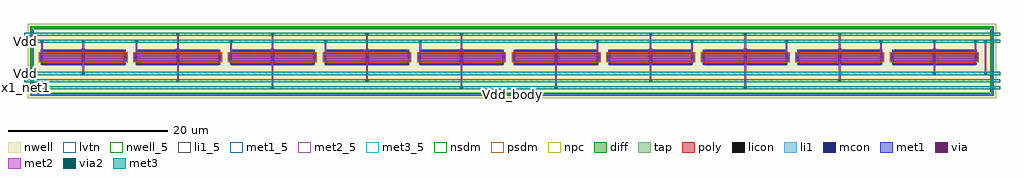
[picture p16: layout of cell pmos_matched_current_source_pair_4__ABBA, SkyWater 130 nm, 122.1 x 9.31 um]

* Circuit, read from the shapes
.subckt pmos_matched_current_source_pair_4__ABBA Vdd Vdd_body x1_Vout x1_Vtest2 x1_net1
XM1 Vdd Vdd Vdd Vdd_body sky130_fd_pr__pfet_01v8_lvt w=1 l=5 m=4
XM2 x1_Vtest2 x1_Vout Vdd Vdd_body sky130_fd_pr__pfet_01v8_lvt w=1 l=5 m=8
XM3 x1_net1 x1_Vout Vdd Vdd_body sky130_fd_pr__pfet_01v8_lvt w=1 l=5 m=8
.ends

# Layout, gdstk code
from math import pi, radians
import gdstk
lib = gdstk.Library(unit=1e-6, precision=1e-09)
def R(c, l, rs):  # rectangles x0, y0, x1, y1
    for r in rs: c.add(gdstk.rectangle(r[:2], r[2:], *l))
def A(c, l, x, y, w, h, nx, ny, dx, dy):  # array of equal rectangles
    R(c, l, [(x+i*dx, y+j*dy, x+i*dx+w, y+j*dy+h) for i in range(nx) for j in range(ny)])
nwell_5 = (64, 5)
nwell = (64, 20)
diff = (65, 20)
tap = (65, 44)
poly = (66, 20)
licon = (66, 44)
li1_5 = (67, 5)
li1 = (67, 20)
mcon = (67, 44)
met1_5 = (68, 5)
met1 = (68, 20)
via = (68, 44)
met2_5 = (69, 5)
met2 = (69, 20)
via2 = (69, 44)
met3_5 = (70, 5)
met3 = (70, 20)
nsdm = (93, 44)
psdm = (94, 20)
npc = (95, 20)
lvtn = (125, 44)

sky130_fd_pr__pfet_01v8_ = lib.new_cell('sky130_fd_pr__pfet_01v8_lvt_26VEAH')
R(sky130_fd_pr__pfet_01v8_, nwell, [(-5.615,-1,5.615,1)])
R(sky130_fd_pr__pfet_01v8_, diff, [(-5.435,-0.5,5.435,0.5)])
R(sky130_fd_pr__pfet_01v8_, poly, [(-5.145,-0.985,-0.145,0.985), (0.145,-0.985,5.145,0.985)])
A(sky130_fd_pr__pfet_01v8_, licon, -4.94, -0.905, 0.17, 0.17, 14, 2, 0.34, 1.64)
A(sky130_fd_pr__pfet_01v8_, licon, 0.35, -0.905, 0.17, 0.17, 14, 2, 0.34, 1.64)
A(sky130_fd_pr__pfet_01v8_, licon, -5.375, -0.425, 0.17, 0.17, 3, 3, 5.29, 0.34)
A(sky130_fd_pr__pfet_01v8_, li1, -5.375, -0.52, 0.17, 1.04, 3, 1, 5.29, 0)
R(sky130_fd_pr__pfet_01v8_, li1, [(-5.29,-0.905,5.29,-0.735), (-5.29,0.735,5.29,0.905)])
A(sky130_fd_pr__pfet_01v8_, mcon, -4.89, -0.905, 0.17, 0.17, 13, 2, 0.36, 1.64)
A(sky130_fd_pr__pfet_01v8_, mcon, 0.4, -0.905, 0.17, 0.17, 13, 2, 0.36, 1.64)
A(sky130_fd_pr__pfet_01v8_, mcon, -5.375, -0.265, 0.17, 0.17, 3, 2, 5.29, 0.36)
A(sky130_fd_pr__pfet_01v8_, met1, -5.405, -0.5, 0.23, 1, 3, 1, 5.29, 0)
R(sky130_fd_pr__pfet_01v8_, met1, [(-5.125,-0.935,-0.165,-0.905), (0.165,-0.935,5.125,-0.905), (-5.29,-0.905,5.29,-0.735), (-5.125,-0.735,-0.165,-0.705), (0.165,-0.735,5.125,-0.705), (-5.125,0.705,-0.165,0.735), (0.165,0.705,5.125,0.735), (-5.29,0.735,5.29,0.905), (-5.125,0.905,-0.165,0.935), (0.165,0.905,5.125,0.935)])
R(sky130_fd_pr__pfet_01v8_, psdm, [(-5.56,-0.625,5.56,0.625)])
R(sky130_fd_pr__pfet_01v8_, npc, [(-5.04,-1.005,-0.25,-0.635), (0.25,-1.005,5.04,-0.635), (-5.04,0.635,-0.25,1.005), (0.25,0.635,5.04,1.005)])
R(sky130_fd_pr__pfet_01v8_, lvtn, [(-5.325,-0.68,5.325,0.68)])
sky130_fd_pr__pfet_01v8_.add(gdstk.Label('D0', (-5.29,0), layer=67, texttype=5))
sky130_fd_pr__pfet_01v8_.add(gdstk.Label('G', (2.645,0.82), layer=67, texttype=5))
sky130_fd_pr__pfet_01v8_.add(gdstk.Label('G', (-2.645,0.82), layer=67, texttype=5))
sky130_fd_pr__pfet_01v8_.add(gdstk.Label('S1', (0,0), layer=67, texttype=5))

pfet_01v8_lvt_w2_l5_m4__ = lib.new_cell('pfet_01v8_lvt_W2_L5_m4__nf2_gboth_sdfull_outS_ng')
R(pfet_01v8_lvt_w2_l5_m4__, nwell_5, [(0.05,0.95,0.15,1.05)])
R(pfet_01v8_lvt_w2_l5_m4__, nwell, [(0.05,0.95,0.15,1.05)])
R(pfet_01v8_lvt_w2_l5_m4__, met1_5, [(0.325,1.705,10.905,1.935)])
R(pfet_01v8_lvt_w2_l5_m4__, met1, [(5.485,0.55,5.745,0.87), (0.195,1.13,0.455,1.45), (10.775,1.13,11.035,1.45), (0.325,1.705,10.905,1.935)])
R(pfet_01v8_lvt_w2_l5_m4__, via, [(5.54,0.635,5.69,0.785), (0.25,1.215,0.4,1.365), (10.83,1.215,10.98,1.365)])
R(pfet_01v8_lvt_w2_l5_m4__, met2_5, [(0.19,0.55,11.04,0.87), (0.19,1.13,11.04,1.45)])
R(pfet_01v8_lvt_w2_l5_m4__, met2, [(0.19,0.55,11.04,0.87), (0.19,1.13,11.04,1.45)])
pfet_01v8_lvt_w2_l5_m4__.add(gdstk.Reference(sky130_fd_pr__pfet_01v8_, (5.615,1)))
pfet_01v8_lvt_w2_l5_m4__.add(gdstk.Label('S', (5.615,1.29), layer=69, texttype=5))
pfet_01v8_lvt_w2_l5_m4__.add(gdstk.Label('D', (5.615,0.71), layer=69, texttype=5))
pfet_01v8_lvt_w2_l5_m4__.add(gdstk.Label('G', (5.615,1.82), layer=68, texttype=5))
pfet_01v8_lvt_w2_l5_m4__.add(gdstk.Label('B', (0.1,1), layer=64, texttype=5))

pmos_matched_current_sou = lib.new_cell('pmos_matched_current_source_pair_4__ABBA')
R(pmos_matched_current_sou, nwell, [(-1.3,-4.1,119.8,5.21)])
R(pmos_matched_current_sou, tap, [(-0.885,-3.685,119.385,-3.515), (-0.885,-3.515,-0.715,4.625), (119.215,-3.515,119.385,4.625), (-0.885,4.625,119.385,4.795)])
A(pmos_matched_current_sou, licon, -0.505, -3.685, 0.17, 0.17, 352, 2, 0.34, 8.31)
A(pmos_matched_current_sou, licon, -0.885, -3.27, 0.17, 0.17, 1, 23, 0, 0.34)
A(pmos_matched_current_sou, licon, 119.215, -3.27, 0.17, 0.17, 1, 23, 0, 0.34)
R(pmos_matched_current_sou, li1_5, [(59.2,-3.65,59.3,-3.55)])
R(pmos_matched_current_sou, li1, [(-0.885,-3.685,119.385,-3.515), (-0.885,-3.515,-0.715,4.625), (119.215,-3.515,119.385,4.625), (-0.885,4.625,119.385,4.795)])
A(pmos_matched_current_sou, met1, 5.435, 1.735, 0.36, 0.36, 10, 1, 11.83, 0)
A(pmos_matched_current_sou, via, 5.54, 1.84, 0.15, 0.15, 10, 1, 11.83, 0)
A(pmos_matched_current_sou, met2, 0.35, 1.35, 0.2, 1.46, 5, 1, 11.83, 0)
A(pmos_matched_current_sou, met2, 69.83, 1.35, 0.2, 1.46, 5, 1, 11.83, 0)
A(pmos_matched_current_sou, met2, 5.485, 1.755, 0.26, 0.32, 10, 1, 11.83, 0)
A(pmos_matched_current_sou, met2, 17.345, 2.075, 0.2, 1.635, 8, 1, 11.83, 0)
A(pmos_matched_current_sou, met2, 12.08, 2.81, 0.4, 0.4, 4, 1, 11.83, 0)
A(pmos_matched_current_sou, met2, 69.73, 2.81, 0.4, 0.4, 4, 1, 11.83, 0)
A(pmos_matched_current_sou, met2, 17.245, 3.71, 0.4, 0.4, 8, 1, 11.83, 0)
R(pmos_matched_current_sou, met2, [(29.075,-3,29.475,-2.6), (52.735,-3,53.135,-2.6), (64.565,-3,64.965,-2.6), (88.225,-3,88.625,-2.6), (29.175,-2.6,29.375,0.65), (52.835,-2.6,53.035,0.65), (64.665,-2.6,64.865,0.65), (88.325,-2.6,88.525,0.65), (17.245,-2.1,17.645,-1.7), (40.905,-2.1,41.305,-1.7), (76.395,-2.1,76.795,-1.7), (100.055,-2.1,100.455,-1.7), (17.345,-1.7,17.545,0.65), (41.005,-1.7,41.205,0.65), (76.495,-1.7,76.695,0.65), (100.155,-1.7,100.355,0.65), (5.415,-1.2,5.815,-0.8), (111.885,-1.2,112.285,-0.8), (118.3,-1.2,118.7,-0.8), (5.515,-0.8,5.715,0.65), (111.985,-0.8,112.185,0.65), (118.4,-0.8,118.6,2.81), (5.515,2.075,5.715,2.81), (111.985,2.075,112.185,2.81), (0.25,2.81,0.65,3.21), (5.415,2.81,5.815,3.21), (111.885,2.81,112.285,3.21), (117.05,2.81,117.45,3.21), (118.3,2.81,118.7,3.21)])
A(pmos_matched_current_sou, via2, 12.18, 2.91, 0.2, 0.2, 4, 1, 11.83, 0)
A(pmos_matched_current_sou, via2, 69.83, 2.91, 0.2, 0.2, 4, 1, 11.83, 0)
A(pmos_matched_current_sou, via2, 17.345, 3.81, 0.2, 0.2, 8, 1, 11.83, 0)
R(pmos_matched_current_sou, via2, [(29.175,-2.9,29.375,-2.7), (52.835,-2.9,53.035,-2.7), (64.665,-2.9,64.865,-2.7), (88.325,-2.9,88.525,-2.7), (17.345,-2,17.545,-1.8), (41.005,-2,41.205,-1.8), (76.495,-2,76.695,-1.8), (100.155,-2,100.355,-1.8), (5.515,-1.1,5.715,-0.9), (111.985,-1.1,112.185,-0.9), (118.4,-1.1,118.6,-0.9), (0.35,2.91,0.55,3.11), (5.515,2.91,5.715,3.11), (111.985,2.91,112.185,3.11), (117.15,2.91,117.35,3.11), (118.4,2.91,118.6,3.11)])
A(pmos_matched_current_sou, met3_5, -1.7, -2.85, 0.1, 0.1, 1, 3, 0, 0.9)
R(pmos_matched_current_sou, met3_5, [(-1.7,2.96,-1.6,3.06), (-1.7,3.86,-1.6,3.96)])
A(pmos_matched_current_sou, met3, -1.8, -3, 122.1, 0.4, 1, 3, 0, 0.9)
R(pmos_matched_current_sou, met3, [(-1.8,2.81,120.3,3.21), (-1.8,3.71,120.3,4.11)])
R(pmos_matched_current_sou, nsdm, [(-1.01,-3.81,119.51,-3.39), (-1.01,-3.39,-0.59,4.5), (119.09,-3.39,119.51,4.5), (-1.01,4.5,119.51,4.92)])
pmos_matched_current_sou.add(gdstk.Reference(pfet_01v8_lvt_w2_l5_m4__, (0,0)))
pmos_matched_current_sou.add(gdstk.Reference(pfet_01v8_lvt_w2_l5_m4__, (11.83,0)))
pmos_matched_current_sou.add(gdstk.Reference(pfet_01v8_lvt_w2_l5_m4__, (23.66,0)))
pmos_matched_current_sou.add(gdstk.Reference(pfet_01v8_lvt_w2_l5_m4__, (35.49,0)))
pmos_matched_current_sou.add(gdstk.Reference(pfet_01v8_lvt_w2_l5_m4__, (47.32,0)))
pmos_matched_current_sou.add(gdstk.Reference(pfet_01v8_lvt_w2_l5_m4__, (70.38,0), rotation=pi, x_reflection=True))
pmos_matched_current_sou.add(gdstk.Reference(pfet_01v8_lvt_w2_l5_m4__, (82.21,0), rotation=pi, x_reflection=True))
pmos_matched_current_sou.add(gdstk.Reference(pfet_01v8_lvt_w2_l5_m4__, (94.04,0), rotation=pi, x_reflection=True))
pmos_matched_current_sou.add(gdstk.Reference(pfet_01v8_lvt_w2_l5_m4__, (105.87,0), rotation=pi, x_reflection=True))
pmos_matched_current_sou.add(gdstk.Reference(pfet_01v8_lvt_w2_l5_m4__, (117.7,0), rotation=pi, x_reflection=True))
pmos_matched_current_sou.add(gdstk.Label('Vdd', (-1.65,3.01), layer=70, texttype=5))
pmos_matched_current_sou.add(gdstk.Label('x1_Vout', (-1.65,3.91), layer=70, texttype=5))
pmos_matched_current_sou.add(gdstk.Label('Vdd', (-1.65,-1), layer=70, texttype=5))
pmos_matched_current_sou.add(gdstk.Label('x1_Vtest2', (-1.65,-1.9), layer=70, texttype=5))
pmos_matched_current_sou.add(gdstk.Label('x1_net1', (-1.65,-2.8), layer=70, texttype=5))
pmos_matched_current_sou.add(gdstk.Label('Vdd_body', (59.25,-3.6), layer=67, texttype=5))

lib.write_gds('pmos_matched_current_source_pair_4__ABBA.gds')
